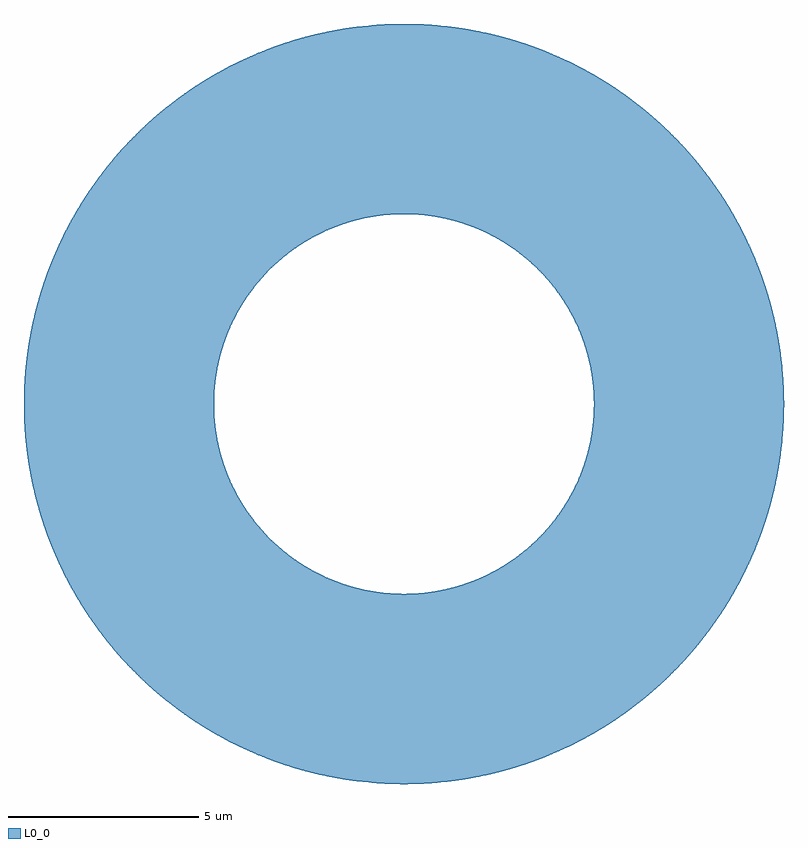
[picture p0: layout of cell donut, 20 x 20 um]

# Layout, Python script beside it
import gdspy
import numpy as np

# Define the library and cell
lib = gdspy.GdsLibrary()
cell = lib.new_cell('donut')

# Define the outer and inner radii
outer_radius = 10
inner_radius = 5

# Set the maximum distance between points for smooth curves
max_distance = 0.01

# Calculate the number of points needed for the outer circle
num_outer_points = int(2 * np.pi * outer_radius / max_distance)

# Calculate the number of points needed for the inner circle
num_inner_points = int(2 * np.pi * inner_radius / max_distance)

# Generate the outer circle points
outer_angles = np.linspace(0, 2 * np.pi, num_outer_points, endpoint=False)
outer_points = np.column_stack((outer_radius * np.cos(outer_angles), outer_radius * np.sin(outer_angles)))

# Generate the inner circle points
inner_angles = np.linspace(0, 2 * np.pi, num_inner_points, endpoint=False)
inner_points = np.column_stack((inner_radius * np.cos(inner_angles), inner_radius * np.sin(inner_angles)))

# Create the donut shape
donut = gdspy.Polygon(outer_points)
donut_hole = gdspy.Polygon(inner_points)
donut = gdspy.boolean(donut, donut_hole, 'not')

# Add the donut shape to the cell
cell.add(donut)

# Save the design to a GDS file
lib.write_gds('donut.gds')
